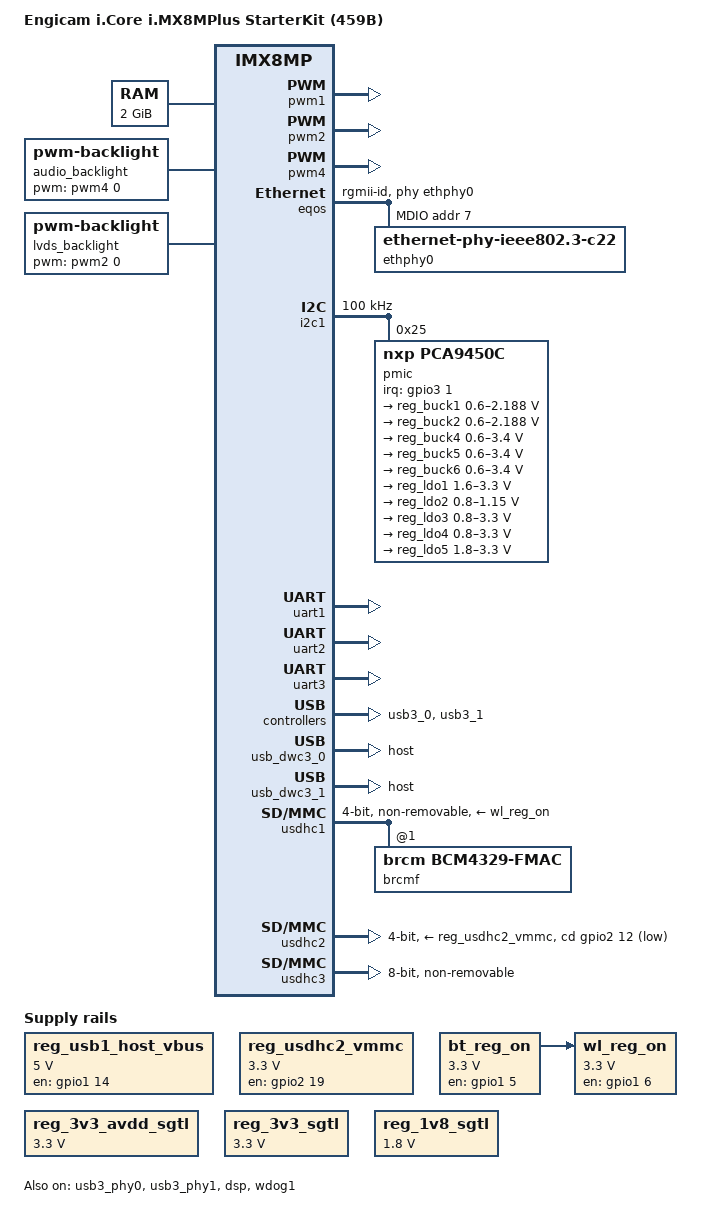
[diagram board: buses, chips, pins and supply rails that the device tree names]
// SPDX-License-Identifier: (GPL-2.0+ OR MIT)
/*
 * Copyright 2020 Engicam
 * Copyright 2021 Jacopo Mondi <jacopo@jmondi.org>
 */

/dts-v1/;

#include <dt-bindings/usb/pd.h>
#include "imx8mp.dtsi"

#define SGTL_MCLK_ON_PWM4

/ {
	model = "Engicam i.Core i.MX8MPlus  StarterKit (459B)";
	compatible = "engi,icore-imx8mp", "fsl,imx8mp";

	chosen {
		stdout-path = &uart2;
	};

	memory@40000000 {
		device_type = "memory";
		reg = <0x0 0x40000000 0 0x80000000>;
	};

	reserved-memory {
		#address-cells = <2>;
		#size-cells = <2>;
		ranges;

		linux,cma {
			compatible = "shared-dma-pool";
			reusable;
			size = <0 0x3c000000>;
			alloc-ranges = <0 0x40000000 0 0xC0000000>;
			linux,cma-default;
		};
	};

	reg_usb1_host_vbus: regulator-usb1-vbus {
		compatible = "regulator-fixed";
		regulator-name = "usb1_host_vbus";
		pinctrl-names = "default";
		pinctrl-0 = <&pinctrl_usb1_vbus>;
		regulator-min-microvolt = <5000000>;
		regulator-max-microvolt = <5000000>;
		gpio = <&gpio1 14 GPIO_ACTIVE_HIGH>;
		enable-active-high;
		regulator-always-on;
	};

	reg_usdhc2_vmmc: regulator-usdhc2 {
		compatible = "regulator-fixed";
		regulator-name = "VSD_3V3";
		regulator-min-microvolt = <3300000>;
		regulator-max-microvolt = <3300000>;
		gpio = <&gpio2 19 GPIO_ACTIVE_HIGH>;
		enable-active-high;
		startup-delay-us = <100>;
		off-on-delay-us = <12000>;
	};

	wl_reg_on: regulator-wlregon {
		compatible = "regulator-fixed";
		regulator-name = "WL_REG_ON";
		regulator-min-microvolt = <3300000>;
		regulator-max-microvolt = <3300000>;
		gpio = <&gpio1 6 GPIO_ACTIVE_HIGH>;
		enable-active-high;
		vin-supply = <&bt_reg_on>;
	};

	bt_reg_on: regulator-btregon {
		compatible = "regulator-fixed";
		regulator-name = "BT_REG_ON";
		regulator-min-microvolt = <3300000>;
		regulator-max-microvolt = <3300000>;
		gpio = <&gpio1 5 GPIO_ACTIVE_HIGH>;
		enable-active-high;
	};

	reg_3v3_avdd_sgtl: reg_3v3_avdd_regulator {
		compatible = "regulator-fixed";
		regulator-name = "3v3_avdd_sgtl";
		regulator-min-microvolt = <3300000>;
		regulator-max-microvolt = <3300000>;
		always-on;
	};

	reg_3v3_sgtl: reg_3v3_sgtl_regulator {
		compatible = "regulator-fixed";
		regulator-name = "3v3_sgtl";
		regulator-min-microvolt = <3300000>;
		regulator-max-microvolt = <3300000>;
		always-on;
	};

	reg_1v8_sgtl: reg_1v8_sgtl_regulator {
		compatible = "regulator-fixed";
		regulator-name = "1v8_sgtl";
		regulator-min-microvolt = <1800000>;
		regulator-max-microvolt = <1800000>;
		always-on;
	};

#ifdef SGTL_MCLK_ON_PWM4
	audio_backlight: audio_backlight {
		compatible = "pwm-backlight";
		pwms = <&pwm4 0 100>;
		status = "okay";

		brightness-levels = < 0  1  2  3  4  5  6  7  8  9
				     10 11 12 13 14 15 16 17 18 19
				     20 21 22 23 24 25 26 27 28 29
				     30 31 32 33 34 35 36 37 38 39
				     40 41 42 43 44 45 46 47 48 49
				     50 51 52 53 54 55 56 57 58 59
				     60 61 62 63 64 65 66 67 68 69
				     70 71 72 73 74 75 76 77 78 79
				     80 81 82 83 84 85 86 87 88 89
				     90 91 92 93 94 95 96 97 98 99
				    100>;
		default-brightness-level = <50>;
	};
#endif

	lvds_backlight: lvds_backlight {
		compatible = "pwm-backlight";
		pwms = <&pwm2 0 100000>;
		status = "okay";

		brightness-levels = < 0  1  2  3  4  5  6  7  8  9
				     10 11 12 13 14 15 16 17 18 19
				     20 21 22 23 24 25 26 27 28 29
				     30 31 32 33 34 35 36 37 38 39
				     40 41 42 43 44 45 46 47 48 49
				     50 51 52 53 54 55 56 57 58 59
				     60 61 62 63 64 65 66 67 68 69
				     70 71 72 73 74 75 76 77 78 79
				     80 81 82 83 84 85 86 87 88 89
				     90 91 92 93 94 95 96 97 98 99
				    100>;
		default-brightness-level = <80>;
	};

};

&clk {
	init-on-array = <IMX8MP_CLK_HSIO_ROOT>;
};

&A53_0 {
	cpu-supply = <&reg_buck2>;
};

&A53_1 {
	cpu-supply = <&reg_buck2>;
};

&A53_2 {
	cpu-supply = <&reg_buck2>;
};

&A53_3 {
	cpu-supply = <&reg_buck2>;
};

&pwm1 {
	pinctrl-names = "default";
	pinctrl-0 = <&pinctrl_pwm1>;
	status = "okay";
};

&pwm2 {
	pinctrl-names = "default";
	pinctrl-0 = <&pinctrl_pwm2>;
	status = "okay";
};

&pwm4 {
	pinctrl-names = "default";
	pinctrl-0 = <&pinctrl_pwm4>;
	status = "okay";
};

&eqos {
	pinctrl-names = "default";
	pinctrl-0 = <&pinctrl_eqos>;
	phy-mode = "rgmii-id";
	phy-handle = <&ethphy0>;
	status = "okay";

	mdio {
		compatible = "snps,dwmac-mdio";
		#address-cells = <1>;
		#size-cells = <0>;

		ethphy0: ethernet-phy@7 {
			compatible = "ethernet-phy-ieee802.3-c22";
			reg = <7>;
			eee-broken-1000t;
		};
	};
};

&i2c1 {
	clock-frequency = <100000>;
	pinctrl-names = "default";
	pinctrl-0 = <&pinctrl_i2c1>;
	status = "okay";

	pmic: pca9450@25 {
		reg = <0x25>;
		compatible = "nxp,pca9450c";
		/* PMIC PCA9450 PMIC_nINT GPIO1_IO3 */
		pinctrl-0 = <&pinctrl_pmic>;
		interrupt-parent = <&gpio3>;
		interrupts = <1 GPIO_ACTIVE_LOW>;

		regulators {
			reg_buck1: buck1 {
				regulator-min-microvolt = <600000>;
				regulator-max-microvolt = <2187500>;
				regulator-boot-on;
				regulator-always-on;
				regulator-ramp-delay = <3125>;
			};

			reg_buck2: buck2 {
				regulator-min-microvolt = <600000>;
				regulator-max-microvolt = <2187500>;
				regulator-boot-on;
				regulator-always-on;
				regulator-ramp-delay = <3125>;
				nxp,dvs-run-voltage = <950000>;
				nxp,dvs-standby-voltage = <850000>;
			};

			reg_buck4: buck4 {
				regulator-min-microvolt = <600000>;
				regulator-max-microvolt = <3400000>;
				regulator-boot-on;
				regulator-always-on;
			};

			reg_buck5: buck5 {
				regulator-min-microvolt = <600000>;
				regulator-max-microvolt = <3400000>;
				regulator-boot-on;
				regulator-always-on;
			};

			reg_buck6: buck6 {
				regulator-min-microvolt = <600000>;
				regulator-max-microvolt = <3400000>;
				regulator-boot-on;
				regulator-always-on;
			};

			reg_ldo1: ldo1 {
				regulator-min-microvolt = <1600000>;
				regulator-max-microvolt = <3300000>;
				regulator-boot-on;
				regulator-always-on;
			};

			reg_ldo2: ldo2 {
				regulator-min-microvolt = <800000>;
				regulator-max-microvolt = <1150000>;
				regulator-boot-on;
				regulator-always-on;
			};

			reg_ldo3: ldo3 {
				regulator-min-microvolt = <800000>;
				regulator-max-microvolt = <3300000>;
				regulator-boot-on;
				regulator-always-on;
			};

			reg_ldo4: ldo4 {
				regulator-min-microvolt = <800000>;
				regulator-max-microvolt = <3300000>;
				regulator-boot-on;
				regulator-always-on;
			};

			reg_ldo5: ldo5 {
				regulator-min-microvolt = <1800000>;
				regulator-max-microvolt = <3300000>;
				regulator-boot-on;
				regulator-always-on;
			};
		};
	};
};

&uart1 { /* RS232 */
	pinctrl-names = "default";
	pinctrl-0 = <&pinctrl_uart1>;
	status = "okay";
};

&uart2 {/* console */
	pinctrl-names = "default";
	pinctrl-0 = <&pinctrl_uart2>;
	status = "okay";
};

&uart3 { /* RS485 */
	pinctrl-names = "default";
	pinctrl-0 = <&pinctrl_uart3>;
	assigned-clocks = <&clk IMX8MP_CLK_UART3>;
	assigned-clock-parents = <&clk IMX8MP_SYS_PLL1_80M>;
	fsl,uart-has-rtscts;
	status = "okay";
};

&usb3_phy0 {
	status = "okay";
};

&usb3_0 {
	status = "okay";
};

&usb_dwc3_0 {
	dr_mode = "host";
	status = "okay";
};

&usb3_phy1 {
	status = "okay";
};

&usb3_1 {
	status = "okay";
};

&usb_dwc3_1 {
	dr_mode = "host";
	status = "okay";
};

&dsp {
	status = "okay";
};

&usdhc1 {
	#address-cells = <1>;
	#size-cells = <0>;
	pinctrl-names = "default";
	pinctrl-0 = <&pinctrl_usdhc1>, <&pinctrl_laird>;
	bus-width = <4>;
	no-1-8-v;
	pm-ignore-notify;
	keep-power-in-suspend;
	vmmc-supply = <&wl_reg_on>;
	non-removable;
	status = "okay";

	brcmf: bcrmf@1 {
		reg = <1>;
		compatible = "brcm,bcm4329-fmac";
	};
};

&usdhc2 {
	pinctrl-names = "default", "state_100mhz", "state_200mhz";
	pinctrl-0 = <&pinctrl_usdhc2>, <&pinctrl_usdhc2_gpio>;
	pinctrl-1 = <&pinctrl_usdhc2_100mhz>, <&pinctrl_usdhc2_gpio>;
	pinctrl-2 = <&pinctrl_usdhc2_200mhz>, <&pinctrl_usdhc2_gpio>;
	cd-gpios = <&gpio2 12 GPIO_ACTIVE_LOW>;
	vmmc-supply = <&reg_usdhc2_vmmc>;
	no-1-8-v;
	bus-width = <4>;
	status = "okay";
};

&usdhc3 {
	pinctrl-names = "default", "state_100mhz", "state_200mhz";
	pinctrl-0 = <&pinctrl_usdhc3>;
	pinctrl-1 = <&pinctrl_usdhc3_100mhz>;
	pinctrl-2 = <&pinctrl_usdhc3_200mhz>;
	bus-width = <8>;
	non-removable;
	status = "okay";
};

&wdog1 {
	pinctrl-names = "default";
	pinctrl-0 = <&pinctrl_wdog>;
	fsl,ext-reset-output;
	status = "okay";
};

&iomuxc {
	pinctrl-names = "default";
	pinctrl-0 = <&pinctrl_hog>;

	pinctrl_hog: hoggrp {
		fsl,pins = <
			MX8MP_IOMUXC_HDMI_DDC_SCL__HDMIMIX_HDMI_SCL	0x400001c3
			MX8MP_IOMUXC_HDMI_DDC_SDA__HDMIMIX_HDMI_SDA	0x400001c3
			MX8MP_IOMUXC_HDMI_HPD__HDMIMIX_HDMI_HPD		0x40000119
			MX8MP_IOMUXC_HDMI_CEC__HDMIMIX_HDMI_CEC		0x40000019
		>;
	};

	pinctrl_pwm1: pwm1grp {
		fsl,pins = <
			MX8MP_IOMUXC_GPIO1_IO01__PWM1_OUT	0x116
		>;
	};

	pinctrl_pwm2: pwm2grp {
		fsl,pins = <
			MX8MP_IOMUXC_GPIO1_IO11__PWM2_OUT	0x116
		>;
	};

	pinctrl_pwm4: pwm4grp {
		fsl,pins = <
#ifdef SGTL_MCLK_ON_PWM4
			MX8MP_IOMUXC_SAI3_MCLK__PWM4_OUT	0x116
#else
			MX8MP_IOMUXC_SAI5_RXFS__PWM4_OUT	0x116
#endif
		>;
	};

	pinctrl_eqos: eqosgrp {
		fsl,pins = <
			MX8MP_IOMUXC_ENET_MDC__ENET_QOS_MDC		0x3
			MX8MP_IOMUXC_ENET_MDIO__ENET_QOS_MDIO		0x3
			MX8MP_IOMUXC_ENET_RD0__ENET_QOS_RGMII_RD0	0x91
			MX8MP_IOMUXC_ENET_RD1__ENET_QOS_RGMII_RD1	0x91
			MX8MP_IOMUXC_ENET_RD2__ENET_QOS_RGMII_RD2	0x91
			MX8MP_IOMUXC_ENET_RD3__ENET_QOS_RGMII_RD3	0x91
			MX8MP_IOMUXC_ENET_RXC__CCM_ENET_QOS_CLOCK_GENERATE_RX_CLK	0x91
			MX8MP_IOMUXC_ENET_RX_CTL__ENET_QOS_RGMII_RX_CTL	0x91
			MX8MP_IOMUXC_ENET_TD0__ENET_QOS_RGMII_TD0	0x1f
			MX8MP_IOMUXC_ENET_TD1__ENET_QOS_RGMII_TD1	0x1f
			MX8MP_IOMUXC_ENET_TD2__ENET_QOS_RGMII_TD2	0x1f
			MX8MP_IOMUXC_ENET_TD3__ENET_QOS_RGMII_TD3	0x1f
			MX8MP_IOMUXC_ENET_TX_CTL__ENET_QOS_RGMII_TX_CTL	0x1f
			MX8MP_IOMUXC_ENET_TXC__CCM_ENET_QOS_CLOCK_GENERATE_TX_CLK	0x1f
			MX8MP_IOMUXC_NAND_DATA01__GPIO3_IO07		0x19
		>;
	};

	pinctrl_i2c1: i2c1grp {
		fsl,pins = <
			MX8MP_IOMUXC_I2C1_SCL__I2C1_SCL		0x400001c3
			MX8MP_IOMUXC_I2C1_SDA__I2C1_SDA		0x400001c3
		>;
	};

	pinctrl_i2c2: i2c2grp {
		fsl,pins = <
			MX8MP_IOMUXC_I2C2_SCL__I2C2_SCL		0x400001c3
			MX8MP_IOMUXC_I2C2_SDA__I2C2_SDA		0x400001c3
		>;
	};

	pinctrl_i2c3: i2c3grp {
		fsl,pins = <
			MX8MP_IOMUXC_I2C3_SCL__I2C3_SCL		0x400001c3
			MX8MP_IOMUXC_I2C3_SDA__I2C3_SDA		0x400001c3
		>;
	};

	pinctrl_pmic: pmicirq {
		fsl,pins = <
			MX8MP_IOMUXC_NAND_CE0_B__GPIO3_IO01	0x41
		>;
	};

	pinctrl_uart1: uart1grp {
		fsl,pins = <
			MX8MP_IOMUXC_UART1_RXD__UART1_DCE_RX	0x140
			MX8MP_IOMUXC_UART1_TXD__UART1_DCE_TX	0x140
		>;
	};

	pinctrl_uart2: uart2grp {
		fsl,pins = <
			MX8MP_IOMUXC_UART2_RXD__UART2_DCE_RX	0x49
			MX8MP_IOMUXC_UART2_TXD__UART2_DCE_TX	0x49
		>;
	};

	pinctrl_uart3: uart3grp {
		fsl,pins = <
			MX8MP_IOMUXC_UART3_RXD__UART3_DCE_RX	0x140
			MX8MP_IOMUXC_UART3_TXD__UART3_DCE_TX	0x140
			MX8MP_IOMUXC_SD1_STROBE__UART3_DCE_CTS	0x140
		>;
	};

	pinctrl_usb1_vbus: usb1grp {
		fsl,pins = <
			MX8MP_IOMUXC_GPIO1_IO14__GPIO1_IO14	0x19
		>;
	};

	pinctrl_usdhc1: usdhc1grp {
		fsl,pins = <
			MX8MP_IOMUXC_SD1_CLK__USDHC1_CLK	0x190
			MX8MP_IOMUXC_SD1_CMD__USDHC1_CMD	0x1d0
			MX8MP_IOMUXC_SD1_DATA0__USDHC1_DATA0	0x1d0
			MX8MP_IOMUXC_SD1_DATA1__USDHC1_DATA1	0x1d0
			MX8MP_IOMUXC_SD1_DATA2__USDHC1_DATA2	0x1d0
			MX8MP_IOMUXC_SD1_DATA3__USDHC1_DATA3	0x1d0
		>;
	};

	pinctrl_usdhc1_100mhz: usdhc1grp-100mhz {
		fsl,pins = <
			MX8MP_IOMUXC_SD1_CLK__USDHC1_CLK	0x194
			MX8MP_IOMUXC_SD1_CMD__USDHC1_CMD	0x1d4
			MX8MP_IOMUXC_SD1_DATA0__USDHC1_DATA0	0x1d4
			MX8MP_IOMUXC_SD1_DATA1__USDHC1_DATA1	0x1d4
			MX8MP_IOMUXC_SD1_DATA2__USDHC1_DATA2	0x1d4
			MX8MP_IOMUXC_SD1_DATA3__USDHC1_DATA3	0x1d4
		>;
	};

	pinctrl_usdhc1_200mhz: usdhc1grp-200mhz {
		fsl,pins = <
			MX8MP_IOMUXC_SD1_CLK__USDHC1_CLK	0x196
			MX8MP_IOMUXC_SD1_CMD__USDHC1_CMD	0x1d6
			MX8MP_IOMUXC_SD1_DATA0__USDHC1_DATA0	0x1d6
			MX8MP_IOMUXC_SD1_DATA1__USDHC1_DATA1	0x1d6
			MX8MP_IOMUXC_SD1_DATA2__USDHC1_DATA2	0x1d6
			MX8MP_IOMUXC_SD1_DATA3__USDHC1_DATA3	0x1d6
		>;
	};

	pinctrl_laird: lairdgrp {
		fsl,pins = <
			MX8MP_IOMUXC_GPIO1_IO06__GPIO1_IO06 	0x41
			MX8MP_IOMUXC_GPIO1_IO05__GPIO1_IO05	0x41
		>;
	};

	pinctrl_usdhc2_gpio: usdhc2grp-gpio {
		fsl,pins = <
			MX8MP_IOMUXC_SD2_CD_B__GPIO2_IO12 	0x1c4
		>;
	};

	pinctrl_usdhc2: usdhc2grp {
		fsl,pins = <
			MX8MP_IOMUXC_SD2_CLK__USDHC2_CLK	0x190
			MX8MP_IOMUXC_SD2_CMD__USDHC2_CMD	0x1d0
			MX8MP_IOMUXC_SD2_DATA0__USDHC2_DATA0	0x1d0
			MX8MP_IOMUXC_SD2_DATA1__USDHC2_DATA1	0x1d0
			MX8MP_IOMUXC_SD2_DATA2__USDHC2_DATA2	0x1d0
			MX8MP_IOMUXC_SD2_DATA3__USDHC2_DATA3	0x1d0
			MX8MP_IOMUXC_GPIO1_IO04__USDHC2_VSELECT	0xc1
		>;
	};

	pinctrl_usdhc2_100mhz: usdhc2grp-100mhz {
		fsl,pins = <
			MX8MP_IOMUXC_SD2_CLK__USDHC2_CLK	0x194
			MX8MP_IOMUXC_SD2_CMD__USDHC2_CMD	0x1d4
			MX8MP_IOMUXC_SD2_DATA0__USDHC2_DATA0	0x1d4
			MX8MP_IOMUXC_SD2_DATA1__USDHC2_DATA1	0x1d4
			MX8MP_IOMUXC_SD2_DATA2__USDHC2_DATA2	0x1d4
			MX8MP_IOMUXC_SD2_DATA3__USDHC2_DATA3	0x1d4
			MX8MP_IOMUXC_GPIO1_IO04__USDHC2_VSELECT 0xc1
		>;
	};

	pinctrl_usdhc2_200mhz: usdhc2grp-200mhz {
		fsl,pins = <
			MX8MP_IOMUXC_SD2_CLK__USDHC2_CLK	0x196
			MX8MP_IOMUXC_SD2_CMD__USDHC2_CMD	0x1d6
			MX8MP_IOMUXC_SD2_DATA0__USDHC2_DATA0	0x1d6
			MX8MP_IOMUXC_SD2_DATA1__USDHC2_DATA1	0x1d6
			MX8MP_IOMUXC_SD2_DATA2__USDHC2_DATA2	0x1d6
			MX8MP_IOMUXC_SD2_DATA3__USDHC2_DATA3	0x1d6
			MX8MP_IOMUXC_GPIO1_IO04__USDHC2_VSELECT 0xc1
		>;
	};

	pinctrl_usdhc3: usdhc3grp {
		fsl,pins = <
			MX8MP_IOMUXC_NAND_WE_B__USDHC3_CLK	0x190
			MX8MP_IOMUXC_NAND_WP_B__USDHC3_CMD	0x1d0
			MX8MP_IOMUXC_NAND_DATA04__USDHC3_DATA0	0x1d0
			MX8MP_IOMUXC_NAND_DATA05__USDHC3_DATA1	0x1d0
			MX8MP_IOMUXC_NAND_DATA06__USDHC3_DATA2	0x1d0
			MX8MP_IOMUXC_NAND_DATA07__USDHC3_DATA3	0x1d0
			MX8MP_IOMUXC_NAND_RE_B__USDHC3_DATA4	0x1d0
			MX8MP_IOMUXC_NAND_CE2_B__USDHC3_DATA5	0x1d0
			MX8MP_IOMUXC_NAND_CE3_B__USDHC3_DATA6	0x1d0
			MX8MP_IOMUXC_NAND_CLE__USDHC3_DATA7	0x1d0
			MX8MP_IOMUXC_NAND_CE1_B__USDHC3_STROBE	0x190
		>;
	};

	pinctrl_usdhc3_100mhz: usdhc3grp-100mhz {
		fsl,pins = <
			MX8MP_IOMUXC_NAND_WE_B__USDHC3_CLK	0x194
			MX8MP_IOMUXC_NAND_WP_B__USDHC3_CMD	0x1d4
			MX8MP_IOMUXC_NAND_DATA04__USDHC3_DATA0	0x1d4
			MX8MP_IOMUXC_NAND_DATA05__USDHC3_DATA1	0x1d4
			MX8MP_IOMUXC_NAND_DATA06__USDHC3_DATA2	0x1d4
			MX8MP_IOMUXC_NAND_DATA07__USDHC3_DATA3	0x1d4
			MX8MP_IOMUXC_NAND_RE_B__USDHC3_DATA4	0x1d4
			MX8MP_IOMUXC_NAND_CE2_B__USDHC3_DATA5	0x1d4
			MX8MP_IOMUXC_NAND_CE3_B__USDHC3_DATA6	0x1d4
			MX8MP_IOMUXC_NAND_CLE__USDHC3_DATA7	0x1d4
			MX8MP_IOMUXC_NAND_CE1_B__USDHC3_STROBE	0x194
		>;
	};

	pinctrl_usdhc3_200mhz: usdhc3grp-200mhz {
		fsl,pins = <
			MX8MP_IOMUXC_NAND_WE_B__USDHC3_CLK	0x196
			MX8MP_IOMUXC_NAND_WP_B__USDHC3_CMD	0x1d6
			MX8MP_IOMUXC_NAND_DATA04__USDHC3_DATA0	0x1d6
			MX8MP_IOMUXC_NAND_DATA05__USDHC3_DATA1	0x1d6
			MX8MP_IOMUXC_NAND_DATA06__USDHC3_DATA2	0x1d6
			MX8MP_IOMUXC_NAND_DATA07__USDHC3_DATA3	0x1d6
			MX8MP_IOMUXC_NAND_RE_B__USDHC3_DATA4	0x1d6
			MX8MP_IOMUXC_NAND_CE2_B__USDHC3_DATA5	0x1d6
			MX8MP_IOMUXC_NAND_CE3_B__USDHC3_DATA6	0x1d6
			MX8MP_IOMUXC_NAND_CLE__USDHC3_DATA7	0x1d6
			MX8MP_IOMUXC_NAND_CE1_B__USDHC3_STROBE	0x196
		>;
	};

	pinctrl_wdog: wdoggrp {
		fsl,pins = <
			MX8MP_IOMUXC_GPIO1_IO02__WDOG1_WDOG_B   0xc6
		>;
	};
};
